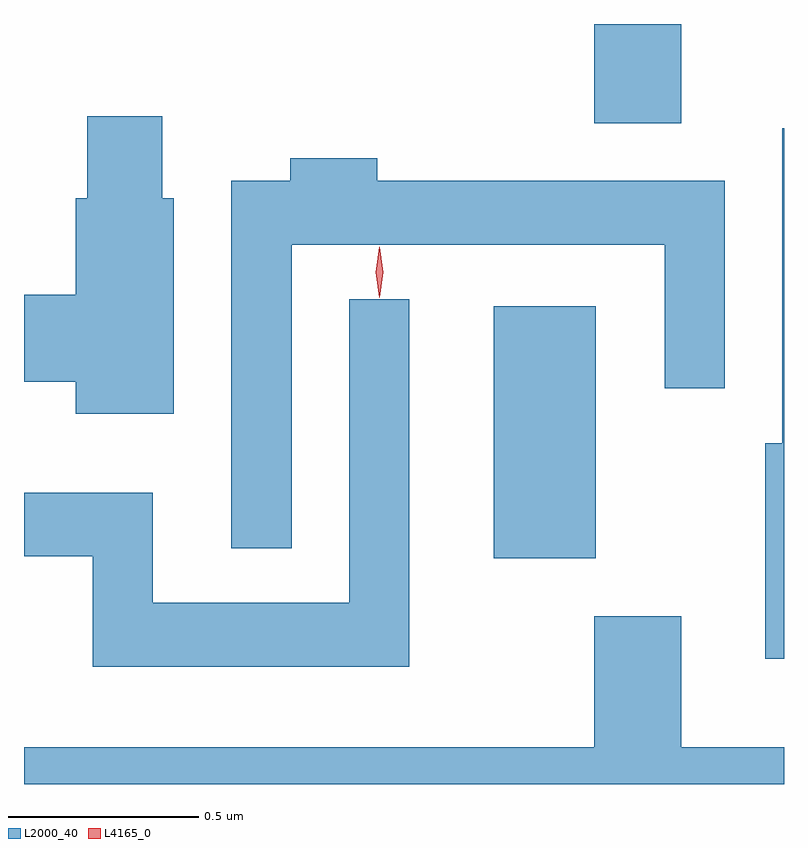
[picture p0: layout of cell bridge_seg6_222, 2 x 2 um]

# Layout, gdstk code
import gdstk
lib = gdstk.Library(unit=1e-6, precision=1e-09)
def R(c, l, rs):  # rectangles x0, y0, x1, y1
    for r in rs: c.add(gdstk.rectangle(r[:2], r[2:], *l))
def P(c, l, *ps):  # polygons
    for p in ps: c.add(gdstk.Polygon(p, *l))
L2000_40 = (2000, 40)
L4165_0 = (4165, 0)

bridge_seg6_222 = lib.new_cell('bridge_seg6_222')
R(bridge_seg6_222, L2000_40, [(1049.606,1564.121,1049.874,1564.784), (1049.871,1565.266,1050.099,1565.527)])
P(bridge_seg6_222, L2000_40, [(1048.764,1565.069),(1048.734,1565.069),(1048.734,1565.284),(1048.536,1565.284),(1048.536,1565.069),(1048.506,1565.069),(1048.506,1564.814),(1048.37,1564.814),(1048.37,1564.586),(1048.506,1564.586),(1048.506,1564.501),(1048.764,1564.501)],
  [(1050.37,1565.253),(1050.366,1565.253),(1050.366,1564.424),(1050.321,1564.424),(1050.321,1563.856),(1050.37,1563.856)],
  [(1049.074,1564.946),(1050.056,1564.946),(1050.056,1564.568),(1050.214,1564.568),(1050.214,1565.114),(1049.299,1565.114),(1049.299,1565.174),(1049.071,1565.174),(1049.071,1565.114),(1048.916,1565.114),(1048.916,1564.148),(1049.074,1564.148)],
  [(1049.384,1564.803),(1049.226,1564.803),(1049.226,1564.004),(1048.709,1564.004),(1048.709,1564.294),(1048.37,1564.294),(1048.37,1564.126),(1048.551,1564.126),(1048.551,1563.836),(1049.384,1563.836)],
  [(1050.37,1563.624),(1050.099,1563.624),(1050.099,1563.969),(1049.871,1563.969),(1049.871,1563.624),(1048.37,1563.624),(1048.37,1563.527),(1050.37,1563.527)])
P(bridge_seg6_222, L4165_0, [(1049.305,1564.807),(1049.305,1564.808),(1049.295,1564.874),(1049.305,1564.94),(1049.305,1564.941),(1049.306,1564.94),(1049.315,1564.874),(1049.306,1564.808)])

lib.write_gds('bridge_seg6_222.gds')
